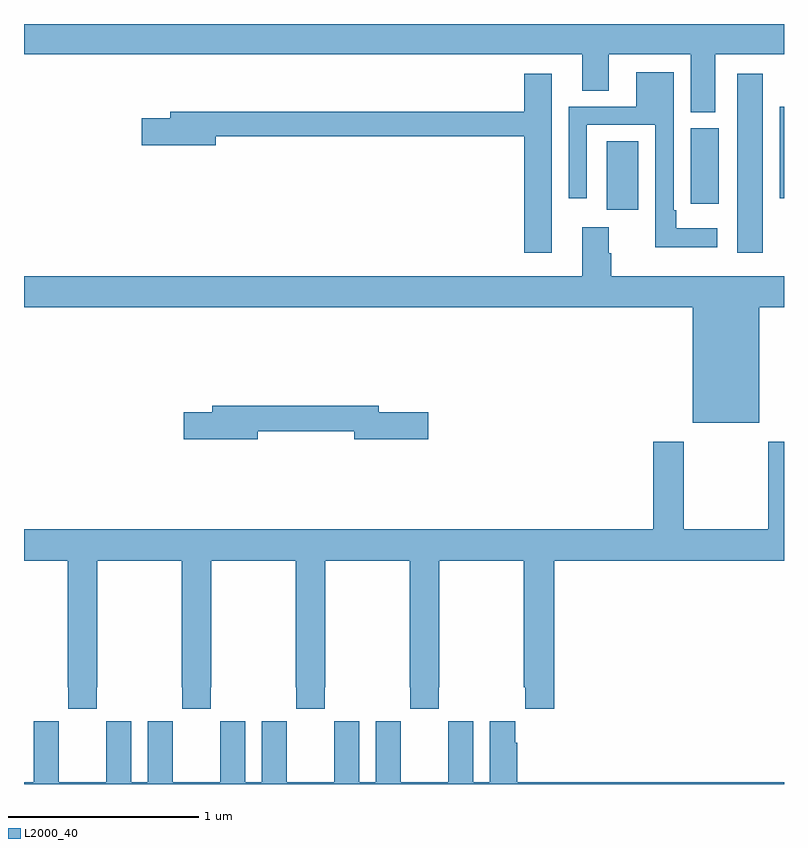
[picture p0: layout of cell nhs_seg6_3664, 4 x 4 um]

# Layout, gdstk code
import gdstk
lib = gdstk.Library(unit=1e-6, precision=1e-09)
def R(c, l, rs):  # rectangles x0, y0, x1, y1
    for r in rs: c.add(gdstk.rectangle(r[:2], r[2:], *l))
def P(c, l, *ps):  # polygons
    for p in ps: c.add(gdstk.Polygon(p, *l))
L2000_40 = (2000, 40)

nhs_seg6_3664 = lib.new_cell('nhs_seg6_3664')
R(nhs_seg6_3664, L2000_40, [(328.754,942.297,328.888,943.237), (328.067,942.522,328.234,942.884), (328.508,942.555,328.657,942.951), (328.977,942.582,329,943.065)])
P(nhs_seg6_3664, L2000_40, [(325,943.34),(327.938,943.34),(327.938,943.15),(328.078,943.15),(328.078,943.34),(328.508,943.34),(328.508,943.036),(328.639,943.036),(328.639,943.34),(329,943.34),(329,943.5),(325,943.5)],
  [(328.648,942.424),(328.432,942.424),(328.432,942.52),(328.419,942.52),(328.419,943.246),(328.223,943.246),(328.223,943.065),(327.867,943.065),(327.867,942.582),(327.963,942.582),(327.963,942.969),(328.323,942.969),(328.323,942.326),(328.648,942.326)],
  [(327.778,943.237),(327.632,943.237),(327.632,943.039),(325.769,943.039),(325.769,943.005),(325.62,943.005),(325.62,942.863),(326.008,942.863),(326.008,942.91),(327.632,942.91),(327.632,942.297),(327.778,942.297)],
  [(328.87,942.008),(329,942.008),(329,942.172),(328.091,942.172),(328.091,942.293),(328.078,942.293),(328.078,942.43),(327.938,942.43),(327.938,942.172),(325,942.172),(325,942.008),(328.52,942.008),(328.52,941.402),(328.87,941.402)],
  [(326.23,941.356),(326.738,941.356),(326.738,941.314),(327.127,941.314),(327.127,941.456),(326.866,941.456),(326.866,941.492),(325.991,941.492),(325.991,941.456),(325.842,941.456),(325.842,941.314),(326.23,941.314)],
  [(329,941.302),(328.918,941.302),(328.918,940.84),(328.473,940.84),(328.473,941.302),(328.313,941.302),(328.313,940.84),(325,940.84),(325,940.676),(325.231,940.676),(325.231,940.009),(325.233,940.009),(325.233,939.897),(325.383,939.897),(325.383,940.009),(325.386,940.009),(325.386,940.676),(325.831,940.676),(325.831,940.009),(325.833,940.009),(325.833,939.897),(325.983,939.897),(325.983,940.009),(325.986,940.009),(325.986,940.676),(326.431,940.676),(326.431,940.009),(326.433,940.009),(326.433,939.897),(326.583,939.897),(326.583,940.009),(326.586,940.009),(326.586,940.676),(327.031,940.676),(327.031,940.009),(327.033,940.009),(327.033,939.897),(327.183,939.897),(327.183,940.009),(327.186,940.009),(327.186,940.676),(327.631,940.676),(327.631,940.009),(327.637,940.009),(327.637,939.897),(327.791,939.897),(327.791,940.676),(329,940.676)],
  [(329,939.508),(327.596,939.508),(327.596,939.716),(327.586,939.716),(327.586,939.829),(327.452,939.829),(327.452,939.508),(327.364,939.508),(327.364,939.829),(327.234,939.829),(327.234,939.716),(327.233,939.716),(327.233,939.508),(326.983,939.508),(326.983,939.716),(326.982,939.716),(326.982,939.829),(326.852,939.829),(326.852,939.508),(326.764,939.508),(326.764,939.829),(326.634,939.829),(326.634,939.716),(326.633,939.716),(326.633,939.508),(326.383,939.508),(326.383,939.716),(326.382,939.716),(326.382,939.829),(326.252,939.829),(326.252,939.508),(326.164,939.508),(326.164,939.829),(326.034,939.829),(326.034,939.716),(326.033,939.716),(326.033,939.508),(325.783,939.508),(325.783,939.716),(325.782,939.716),(325.782,939.829),(325.652,939.829),(325.652,939.508),(325.564,939.508),(325.564,939.829),(325.434,939.829),(325.434,939.716),(325.433,939.716),(325.433,939.508),(325.183,939.508),(325.183,939.716),(325.182,939.716),(325.182,939.829),(325.052,939.829),(325.052,939.508),(325,939.508),(325,939.5),(329,939.5)])

lib.write_gds('nhs_seg6_3664.gds')
